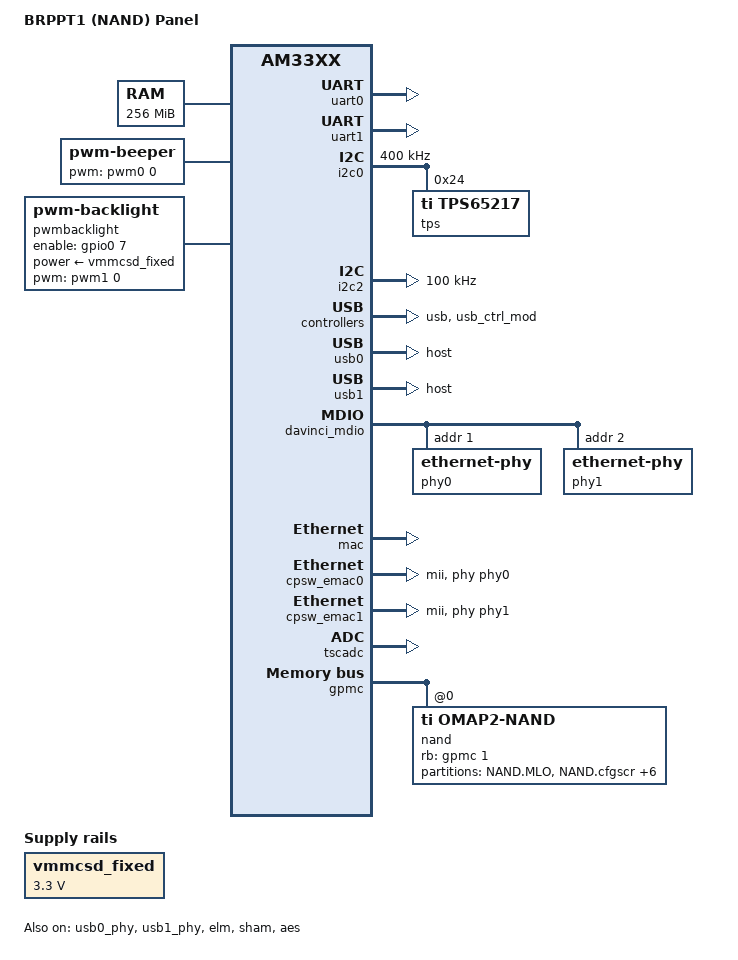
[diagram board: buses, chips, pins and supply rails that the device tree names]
// SPDX-License-Identifier: GPL-2.0+
/*
 * Copyright (C) 2018 B&R Industrial Automation GmbH
 * http://www.br-automation.com
 *
 */
/dts-v1/;

#include "am33xx.dtsi"

/ {
	model = "BRPPT1 (NAND) Panel";
	compatible = "ti,am33xx";

	fset: factory-settings {
		bl-version	= "ABCDEFGHIJKLMNOPQRSTUVWXYZ0123456890";
		version		= <0x0100>;
		order-no	= "6PPT30 (NAND)";
		hw-revision	= "ABCDEFGHIJKLMNOPQRSTUVWXYZ0123456890";
		serial-no	= "0";
		device-id	= <0x0>;
		parent-id	= <0x0>;
		hw-variant	= <0x1>;
	};

	aliases {
		ds1bkl0 = &pwmbacklight;
		ds1bkl1 = &tps_bl;
		ds1timing = &timing0;
		ds1ctrl = &lcdc;
		gpmc = &gpmc;
		mmc = &mmc2;
		fset = &fset;
	};

	chosen {
		bootargs = "console=ttyO0,115200 earlyprintk";
		stdout-path = &uart0;
	};

	memory {
		device_type = "memory";
		reg = <0x80000000 0x10000000>; /* 256 MB */
	};

	panel {
		status = "disabled";

		compatible = "ti,tilcdc,panel";
		enable-gpios = <&gpio0 6 GPIO_ACTIVE_LOW>;

		backlight = <&pwmbacklight>;
		bkl-pwm = <&pwmbacklight>;
		bkl-tps = <&tps_bl>;

		panel-info {
			ac-bias		= <255>;
			ac-bias-intrpt	= <0>;
			dma-burst-sz	= <16>;
			bpp		= <32>;
			fdd		= <0x80>;
			sync-edge	= <0>;
			sync-ctrl	= <1>;
			raster-order	= <0>;
			fifo-th		= <0>;
		};

		display-timings {
			native-mode = <&timing0>;
			timing0: lcd {
				clock-frequency	= <32000000>;
				hactive		= <800>;
				vactive		= <480>;
				hfront-porch	= <2>;
				hback-porch	= <192>;
				hsync-len	= <1>;
				vfront-porch	= <20>;
				vback-porch	= <2>;
				vsync-len	= <1>;
				hsync-active	= <1>;
				vsync-active	= <1>;
				pupdelay	= <10>;
				pondelay	= <10>;
			};
		};
	};

	vmmcsd_fixed: fixedregulator@0 {
		compatible = "regulator-fixed";
		regulator-name = "vmmcsd_fixed";
		regulator-min-microvolt = <3300000>;
		regulator-max-microvolt = <3300000>;
	};

	pwm0: omap-pwm@timer5 {
		compatible = "ti,omap-dmtimer-pwm";
		ti,timers = <&timer5>;
		#pwm-cells = <3>;
	};

	pwm1: omap-pwm@timer6 {
		compatible = "ti,omap-dmtimer-pwm";
		ti,timers = <&timer6>;
		#pwm-cells = <3>;
	};

	beeper: pwm-beep {
		compatible = "pwm-beeper";
		pwms = <&pwm0 0 0 0>;
	};

	pwmbacklight: pwm-bkl {
		compatible = "pwm-backlight";
		pwms = <&pwm1 0 5000000 0>;

		default-brightness-level = <255>;
		brightness-levels = <0 16 32 64 128 170 202 234 255>;

		power-supply = <&vmmcsd_fixed>;
		enable-gpios = <&gpio0 7 GPIO_ACTIVE_HIGH>;
	};
};

&uart0 {		/* console uart */
	u-boot,dm-spl;
	status = "okay";
};

&uart1 {
	status = "okay";
};

&i2c0 {
	u-boot,dm-spl;
	status = "okay";
	clock-frequency = <400000>;

	tps: tps@24 {		/* PMIC controller */
		u-boot,dm-spl;
		reg = <0x24>;
		compatible = "ti,tps65217";

		tps_bl: backlight {
			compatible = "ti,tps65217-bl";
			isel = <1>;	/* 1 - ISET1, 2 ISET2 */
			fdim = <1000>;	/* TPS65217_BL_FDIM_1kHZ */
			default-brightness = <50>;
		};
	};
};

&i2c2 {
	status = "okay";
	clock-frequency = <100000>;
};

&edma {
	status = "okay";
};

&cppi41dma  {
	status = "okay";
};

&usb {
	status = "okay";
};

&usb_ctrl_mod {
	status = "okay";
};

&usb0_phy {
	status = "okay";
};

&usb1_phy {
	status = "okay";
};

&usb0 {
	status = "okay";
	dr_mode = "host";
};

&usb1 {
	status = "okay";
	dr_mode = "host";
};

&davinci_mdio {
	status = "okay";

	phy0: ethernet-phy@0 {
		reg = <1>;
	};

	phy1: ethernet-phy@1 {
		reg = <2>;
	};
};

&mac {
	dual_emac;
	status = "okay";
};

&cpsw_emac0 {
	phy-handle = <&phy0>;
	dual_emac_res_vlan = <1>;
	phy-mode = "mii";
};

&cpsw_emac1 {
	phy-handle = <&phy1>;
	dual_emac_res_vlan = <2>;
	phy-mode = "mii";
};

&mmc2 {
	vmmc-supply = <&vmmcsd_fixed>;
	bus-width = <0x4>;
	ti,non-removable;
	ti,needs-special-hs-handling;
	ti,vcc-aux-disable-is-sleep;
	status = "disabled";
};

&lcdc {
	status = "disabled";
};

&elm {
	status = "okay";
};

&sham {
	status = "okay";
};

&aes {
	status = "okay";
};

&gpio0 {
	u-boot,dm-spl;
	ti,no-reset-on-init;
};

&gpio1 {
	u-boot,dm-spl;
	ti,no-reset-on-init;
};

&gpio2 {
	u-boot,dm-spl;
	ti,no-reset-on-init;
};

&gpio3 {
	u-boot,dm-spl;
	ti,no-reset-on-init;
};

&wdt2 {
	ti,no-reset-on-init;
	ti,no-idle-on-init;
};

&tscadc {
	status = "okay";
	tsc {
		ti,wires = <4>;
		ti,x-plate-resistance = <200>;
		ti,zx-cutoff-ratio = <40>;
		ti,min_deviation = <60>;
		ti,max_deviation = <600>;
		ti,coordinate-readouts = <5>;
		ti,wire-config = <0x00 0x11 0x22 0x33>;

		bnr-buttons {
			Home-Button {};
		};
	};

	adc {
		ti,adc-channels = <5 6 7>;
	};
};

&gpmc {
	u-boot,dm-spl;
	status = "okay";
	pinctrl-names = "default";
	ranges = <0 0 0x08000000 0x10000000>;	/* CS0: NAND */
	nand@0,0 {
		compatible = "ti,omap2-nand";
		reg = <0 0 4>; /* CS0, offset 0, IO size 4 */
		interrupt-parent = <&gpmc>;
		rb-gpios = <&gpmc 1 GPIO_ACTIVE_HIGH>; /* gpmc_wait1 */
		ti,nand-ecc-opt = "bch8";
		ti,elm-id = <&elm>;
		nand-bus-width = <8>;
		gpmc,device-width = <1>;
		gpmc,sync-clk-ps = <0>;
		gpmc,cs-on-ns = <0>;
		gpmc,cs-rd-off-ns = <44>;
		gpmc,cs-wr-off-ns = <44>;
		gpmc,adv-on-ns = <6>;
		gpmc,adv-rd-off-ns = <34>;
		gpmc,adv-wr-off-ns = <44>;
		gpmc,we-on-ns = <0>;
		gpmc,we-off-ns = <40>;
		gpmc,oe-on-ns = <0>;
		gpmc,oe-off-ns = <54>;
		gpmc,access-ns = <64>;
		gpmc,rd-cycle-ns = <82>;
		gpmc,wr-cycle-ns = <82>;
		gpmc,wait-on-read = "true";
		gpmc,wait-on-write = "true";
		gpmc,bus-turnaround-ns = <0>;
		gpmc,cycle2cycle-delay-ns = <0>;
		gpmc,clk-activation-ns = <0>;
		gpmc,wait-monitoring-ns = <0>;
		gpmc,wr-access-ns = <40>;
		gpmc,wr-data-mux-bus-ns = <0>;
		gpmc,wait-pin = <1>;
		#address-cells = <1>;
		#size-cells = <1>;
		partition@0 {
			label = "NAND.MLO";
			reg = <0x00000000 0x000020000>;
		};
		partition@1 {
			label = "NAND.cfgscr";
			reg = <0x00020000 0x00020000>;
		};
		partition@2 {
			label = "NAND.dtb";
			reg = <0x00040000 0x00020000>;
		};
		partition@3 {
			label = "NAND.u-boot-env";
			reg = <0x00060000 0x00020000>;
		};
		partition@4 {
			label = "NAND.u-boot";
			reg = <0x00080000 0x00080000>;
		};
		partition@5 {
			label = "NAND.kernel";
			reg = <0x00100000 0x00400000>;
		};
		partition@6 {
			label = "NAND.rootfs";
			reg = <0x00500000 0x08000000>;
		};
		partition@7 {
			label = "NAND.user";
			reg = <0x08500000 0x17b00000>;
		};
	};
};
